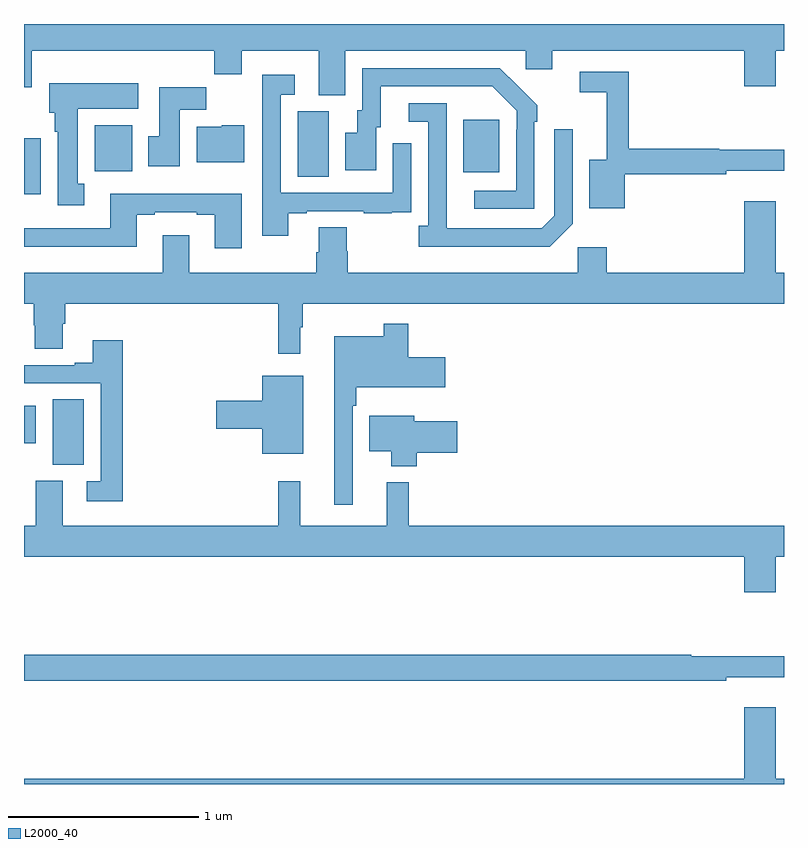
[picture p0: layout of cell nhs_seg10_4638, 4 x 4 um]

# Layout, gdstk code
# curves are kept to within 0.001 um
import gdstk
lib = gdstk.Library(unit=1e-6, precision=1e-09)
def R(c, l, rs):  # rectangles x0, y0, x1, y1
    for r in rs: c.add(gdstk.rectangle(r[:2], r[2:], *l))
def P(c, l, *ps):  # polygons
    for p in ps: c.add(gdstk.Polygon(p, *l))
L2000_40 = (2000, 40)

nhs_seg10_4638 = lib.new_cell('nhs_seg10_4638')
R(nhs_seg10_4638, L2000_40, [(377.15,1254.181,377.314,1254.524), (377,1254.293,377.062,1254.49), (377,1255.604,377.089,1255.9), (378.44,1255.696,378.604,1256.04), (379.313,1255.721,379.501,1255.996), (377.372,1255.724,377.569,1255.966)])
P(nhs_seg10_4638, L2000_40, [(378.691,1256.36),(379.641,1256.36),(379.641,1256.262),(379.78,1256.262),(379.78,1256.36),(380.792,1256.36),(380.792,1256.172),(380.956,1256.172),(380.956,1256.36),(381,1256.36),(381,1256.5),(377,1256.5),(377,1256.166),(377.041,1256.166),(377.041,1256.36),(378.001,1256.36),(378.001,1256.236),(378.145,1256.236),(378.145,1256.36),(378.551,1256.36),(378.551,1256.125),(378.691,1256.125)],
  [(379.686,1255.985),(379.701,1255.985),(379.701,1256.073),(379.504,1256.268),(378.78,1256.268),(378.78,1256.046),(378.755,1256.046),(378.755,1255.927),(378.692,1255.927),(378.692,1255.731),(378.853,1255.731),(378.853,1255.956),(378.877,1255.956),(378.877,1256.172),(379.465,1256.172),(379.593,1256.043),(379.593,1255.943),(379.59,1255.943),(379.59,1255.623),(379.371,1255.623),(379.371,1255.527),(379.686,1255.527)],
  [(380.163,1255.708),(380.696,1255.708),(380.696,1255.727),(381,1255.727),(381,1255.837),(380.66,1255.837),(380.66,1255.844),(380.183,1255.844),(380.183,1256.25),(379.926,1256.25),(379.926,1256.142),(380.066,1256.142),(380.066,1255.786),(379.976,1255.786),(379.976,1255.529),(380.163,1255.529)],
  [(378.391,1255.503),(378.487,1255.503),(378.487,1255.515),(378.787,1255.515),(378.787,1255.503),(378.935,1255.503),(378.935,1255.509),(379.037,1255.509),(379.037,1255.618),(379.038,1255.618),(379.038,1255.873),(378.942,1255.873),(378.942,1255.611),(378.351,1255.611),(378.351,1256.127),(378.424,1256.127),(378.424,1256.233),(378.255,1256.233),(378.255,1255.386),(378.391,1255.386)],
  [(377.317,1255.658),(377.284,1255.658),(377.284,1256.054),(377.602,1256.054),(377.602,1256.188),(377.132,1256.188),(377.132,1256.034),(377.162,1256.034),(377.162,1255.934),(377.177,1255.934),(377.177,1255.545),(377.317,1255.545)],
  [(377.821,1256.048),(377.96,1256.048),(377.96,1256.167),(377.711,1256.167),(377.711,1255.908),(377.654,1255.908),(377.654,1255.752),(377.821,1255.752)],
  [(379.887,1255.449),(379.887,1255.945),(379.791,1255.945),(379.791,1255.491),(379.725,1255.425),(379.225,1255.425),(379.224,1256.082),(379.026,1256.082),(379.026,1255.986),(379.128,1255.986),(379.128,1255.438),(379.077,1255.438),(379.077,1255.328),(379.766,1255.328)],
  [(378.16,1255.966),(378.042,1255.966),(378.042,1255.96),(377.909,1255.96),(377.909,1255.772),(378.16,1255.772)],
  [(378.145,1255.606),(377.453,1255.606),(377.453,1255.425),(377,1255.425),(377,1255.328),(377.593,1255.328),(377.593,1255.497),(377.689,1255.497),(377.689,1255.509),(377.909,1255.509),(377.909,1255.497),(378.005,1255.497),(378.005,1255.32),(378.145,1255.32)],
  [(378.337,1254.765),(378.454,1254.765),(378.454,1254.905),(378.466,1254.905),(378.466,1255.028),(381,1255.028),(381,1255.192),(380.956,1255.192),(380.956,1255.567),(380.792,1255.567),(380.792,1255.192),(380.066,1255.192),(380.066,1255.324),(379.914,1255.324),(379.914,1255.192),(378.704,1255.192),(378.704,1255.305),(378.699,1255.305),(378.699,1255.43),(378.551,1255.43),(378.551,1255.298),(378.539,1255.298),(378.539,1255.192),(377.869,1255.192),(377.869,1255.387),(377.729,1255.387),(377.729,1255.192),(377,1255.192),(377,1255.028),(377.051,1255.028),(377.051,1254.915),(377.056,1254.915),(377.056,1254.79),(377.203,1254.79),(377.203,1254.922),(377.216,1254.922),(377.216,1255.028),(378.337,1255.028)],
  [(378.729,1254.491),(378.749,1254.491),(378.749,1254.587),(379.216,1254.587),(379.216,1254.745),(379.022,1254.745),(379.022,1254.922),(378.894,1254.922),(378.894,1254.856),(378.632,1254.856),(378.632,1253.97),(378.729,1253.97)],
  [(377.519,1254.835),(377.363,1254.835),(377.363,1254.718),(377.267,1254.718),(377.267,1254.705),(377,1254.705),(377,1254.609),(377.403,1254.609),(377.403,1254.093),(377.331,1254.093),(377.331,1253.988),(377.519,1253.988)],
  [(378.469,1254.649),(378.254,1254.649),(378.254,1254.518),(378.012,1254.518),(378.012,1254.371),(378.254,1254.371),(378.254,1254.239),(378.469,1254.239)],
  [(379.067,1254.244),(379.279,1254.244),(379.279,1254.409),(379.054,1254.409),(379.054,1254.439),(378.818,1254.439),(378.818,1254.251),(378.932,1254.251),(378.932,1254.173),(379.067,1254.173)],
  [(380.956,1253.696),(381,1253.696),(381,1253.86),(379.025,1253.86),(379.025,1254.088),(378.908,1254.088),(378.908,1253.86),(378.455,1253.86),(378.455,1254.094),(378.337,1254.094),(378.337,1253.86),(377.203,1253.86),(377.203,1254.096),(377.063,1254.096),(377.063,1253.86),(377,1253.86),(377,1253.696),(380.792,1253.696),(380.792,1253.508),(380.956,1253.508)],
  [(380.696,1253.063),(381,1253.063),(381,1253.173),(380.513,1253.173),(380.513,1253.18),(377,1253.18),(377,1253.044),(380.696,1253.044)],
  [(381,1252.528),(380.956,1252.528),(380.956,1252.903),(380.792,1252.903),(380.792,1252.528),(377,1252.528),(377,1252.5),(381,1252.5)])

lib.write_gds('nhs_seg10_4638.gds')
